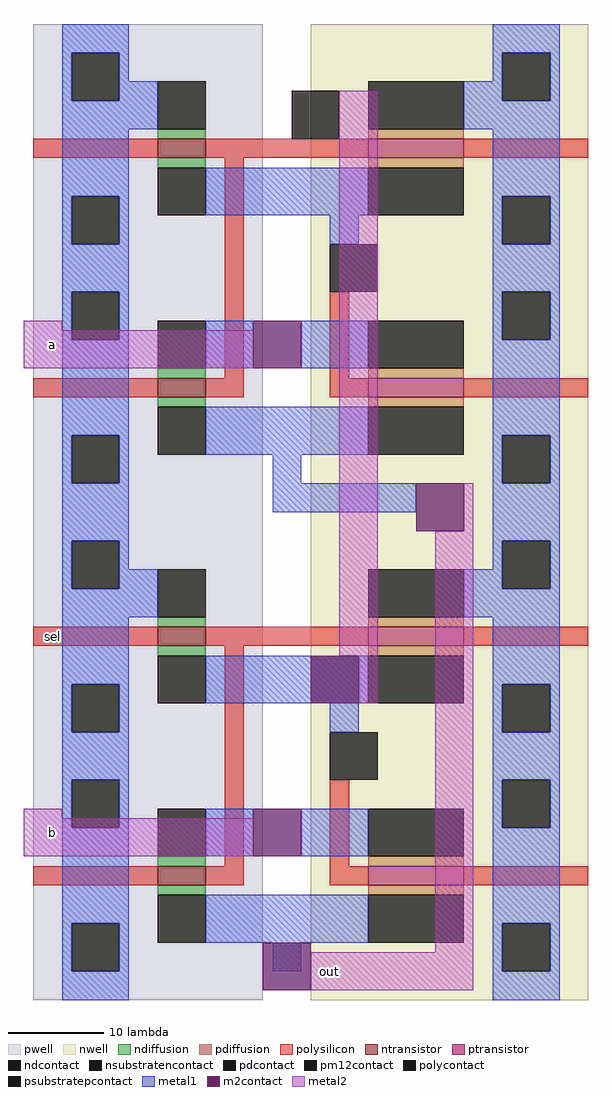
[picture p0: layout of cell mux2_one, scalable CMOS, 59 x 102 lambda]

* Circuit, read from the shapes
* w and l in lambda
.subckt mux2_one GND! Vdd! a b out sel
M1 b sel out GND! nfet w=5 l=2
M2 GND! sel tg_0/EN GND! nfet w=5 l=2
M3 a tg_0/EN out GND! nfet w=5 l=2
M4 GND! tg_0/EN n1 GND! nfet w=5 l=2
M5 b tg_0/EN out Vdd! pfet w=10 l=2
M6 Vdd! sel tg_0/EN Vdd! pfet w=10 l=2
M7 a n1 out Vdd! pfet w=10 l=2
M8 Vdd! tg_0/EN n1 Vdd! pfet w=10 l=2
.ends

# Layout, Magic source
magic
tech scmos
<< polysilicon >>
rect 0 -14 4 -12
<< metal1 >>
rect 3 49 10 51
rect 48 50 55 51
rect 25 0 40 3
<< m2contact >>
rect 40 -2 45 3
rect 29 -20 34 -15
rect 24 -50 29 -45
<< pm12contact >>
rect 27 39 32 44
<< metal2 >>
rect 0 16 7 19
rect 32 -15 36 44
rect 45 -2 46 3
rect 34 -20 36 -15
rect 0 -35 7 -32
rect 42 -46 46 -2
rect 29 -50 46 -46
use tg  tg_0
transform 1 0 -87 0 1 -43
box 86 43 145 94
use tg  tg_1
transform 1 0 -87 0 1 -94
box 86 43 145 94
<< labels >>
rlabel metal2 2 16 2 19 3 a
rlabel metal2 2 -35 2 -32 3 b
rlabel polysilicon 2 -13 2 -13 3 sel
rlabel metal2 31 -48 31 -48 1 out
<< end >>

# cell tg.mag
magic
tech scmos
<< nwell >>
rect 116 43 145 94
<< pwell >>
rect 87 43 111 94
<< ntransistor >>
rect 100 80 105 82
rect 100 55 105 57
<< ptransistor >>
rect 122 80 132 82
rect 122 55 132 57
<< ndiffusion >>
rect 100 82 105 83
rect 100 79 105 80
rect 100 57 105 58
rect 100 54 105 55
<< pdiffusion >>
rect 122 82 132 83
rect 122 79 132 80
rect 122 57 132 58
rect 122 54 132 55
<< ndcontact >>
rect 100 83 105 88
rect 100 74 105 79
rect 100 58 105 63
rect 100 49 105 54
<< pdcontact >>
rect 122 83 132 88
rect 122 74 132 79
rect 122 58 132 63
rect 122 49 132 54
<< psubstratepcontact >>
rect 91 86 96 91
rect 91 71 96 76
rect 91 61 96 66
rect 91 46 96 51
<< nsubstratencontact >>
rect 136 86 141 91
rect 136 71 141 76
rect 136 61 141 66
rect 136 46 141 51
<< polysilicon >>
rect 87 80 100 82
rect 105 80 122 82
rect 132 80 145 82
rect 107 57 109 80
rect 87 55 100 57
rect 105 55 109 57
rect 118 57 120 66
rect 118 55 122 57
rect 132 55 145 57
<< polycontact >>
rect 118 66 123 71
<< metal1 >>
rect 90 91 97 94
rect 90 86 91 91
rect 96 88 97 91
rect 135 91 142 94
rect 135 88 136 91
rect 96 86 100 88
rect 90 83 100 86
rect 132 86 136 88
rect 141 86 142 91
rect 132 83 142 86
rect 90 76 97 83
rect 90 71 91 76
rect 96 71 97 76
rect 105 74 122 79
rect 135 76 142 83
rect 90 66 97 71
rect 118 71 121 74
rect 135 71 136 76
rect 141 71 142 76
rect 135 66 142 71
rect 90 61 91 66
rect 96 61 97 66
rect 90 51 97 61
rect 105 58 110 63
rect 115 58 122 63
rect 135 61 136 66
rect 141 61 142 66
rect 90 46 91 51
rect 96 46 97 51
rect 105 49 122 54
rect 135 51 142 61
rect 112 46 115 49
rect 135 46 136 51
rect 141 46 142 51
rect 90 43 97 46
rect 135 43 142 46
<< m2contact >>
rect 110 58 115 63
<< metal2 >>
rect 86 62 90 63
rect 86 58 110 62
<< labels >>
rlabel metal1 112 47 115 47 1 out
rlabel metal1 136 44 141 44 1 Vdd!
rlabel polysilicon 88 80 88 82 3 EN
rlabel metal1 136 92 141 92 5 Vdd!
rlabel metal1 91 92 96 92 5 GND!
rlabel metal1 91 44 96 44 1 GND!
<< end >>
